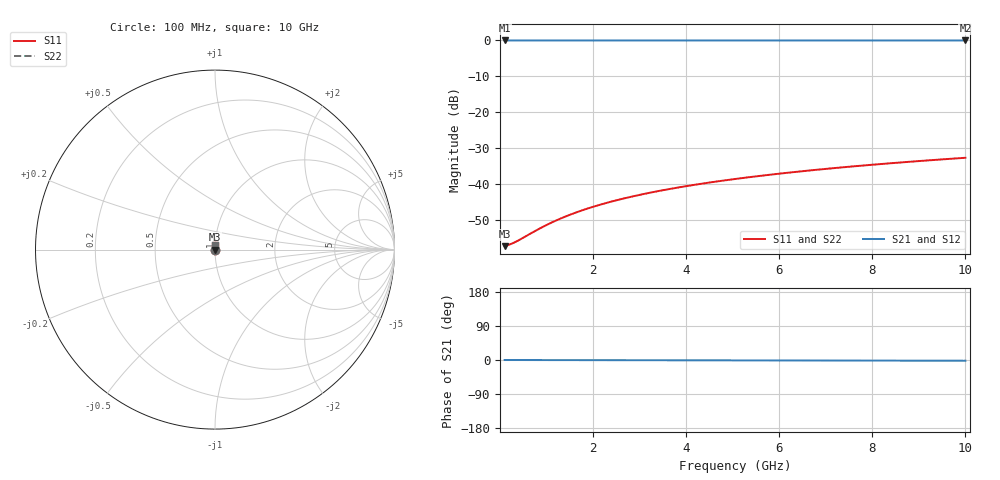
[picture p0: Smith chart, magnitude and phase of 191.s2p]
# Hz S RI R 50.00
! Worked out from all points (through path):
!   100 points, 100 MHz to 10 GHz, reference 50 ohm
!   highest |S21| = -0.01 dB at 100 MHz (marker M1); lowest = 0.0 dB at 10 GHz (marker M2)
!   lowest |S11| = -57.2 dB at 100 MHz (marker M3), VSWR 1.00, Z = 50.1 + j0.0234 ohm
!   |S11| at or under -10 dB: start of sweep to end of sweep
!   |S22| runs from -57.2 to -32.6 dB; largest |S21 - S12| = 1e-14
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1e8  0.00137 0.000233  0.9986 -0.000341  0.9986 -0.000341  0.00137 0.000233
2e8  0.00138 0.000466  0.9986 -0.000682  0.9986 -0.000682  0.00138 0.000466
3e8  0.00138 0.000699  0.9986 -0.00102  0.9986 -0.00102  0.00138 0.000699
4e8  0.00139 0.000931  0.9986 -0.00136  0.9986 -0.00136  0.00139 0.000931
7e8  0.0014 0.00163  0.9986 -0.00239  0.9986 -0.00239  0.0014 0.00163
9e8  0.00141 0.0021  0.9986 -0.00307  0.9986 -0.00307  0.00141 0.0021
1.2e9  0.00143 0.00279  0.9986 -0.00409  0.9986 -0.00409  0.00143 0.00279
1.5e9  0.00144 0.00349  0.9986 -0.00511  0.9986 -0.00511  0.00144 0.00349
1.8e9  0.00145 0.00419  0.9985 -0.00613  0.9985 -0.00613  0.00145 0.00419
2.1e9  0.00147 0.00489  0.9985 -0.00716  0.9985 -0.00716  0.00147 0.00489
2.5e9  0.00149 0.00582  0.9985 -0.00852  0.9985 -0.00852  0.00149 0.00582
2.9e9  0.00151 0.00675  0.9985 -0.00988  0.9985 -0.00988  0.00151 0.00675
3.4e9  0.00154 0.00792  0.9984 -0.0116  0.9984 -0.0116  0.00154 0.00792
3.8e9  0.00157 0.00885  0.9984 -0.013  0.9984 -0.013  0.00157 0.00885
4.2e9  0.0016 0.00978  0.9984 -0.0143  0.9984 -0.0143  0.0016 0.00978
4.6e9  0.00163 0.0107  0.9983 -0.0157  0.9983 -0.0157  0.00163 0.0107
5.1e9  0.00168 0.0119  0.9983 -0.0174  0.9983 -0.0174  0.00168 0.0119
5.9e9  0.00176 0.0137  0.9982 -0.0201  0.9982 -0.0201  0.00176 0.0137
6.7e9  0.00184 0.0156  0.9981 -0.0228  0.9981 -0.0228  0.00184 0.0156
7.5e9  0.00194 0.0175  0.998 -0.0256  0.998 -0.0256  0.00194 0.0175
8.4e9  0.00207 0.0196  0.9979 -0.0287  0.9979 -0.0287  0.00207 0.0196
1e10  0.00232 0.0233  0.9976 -0.0341  0.9976 -0.0341  0.00232 0.0233
